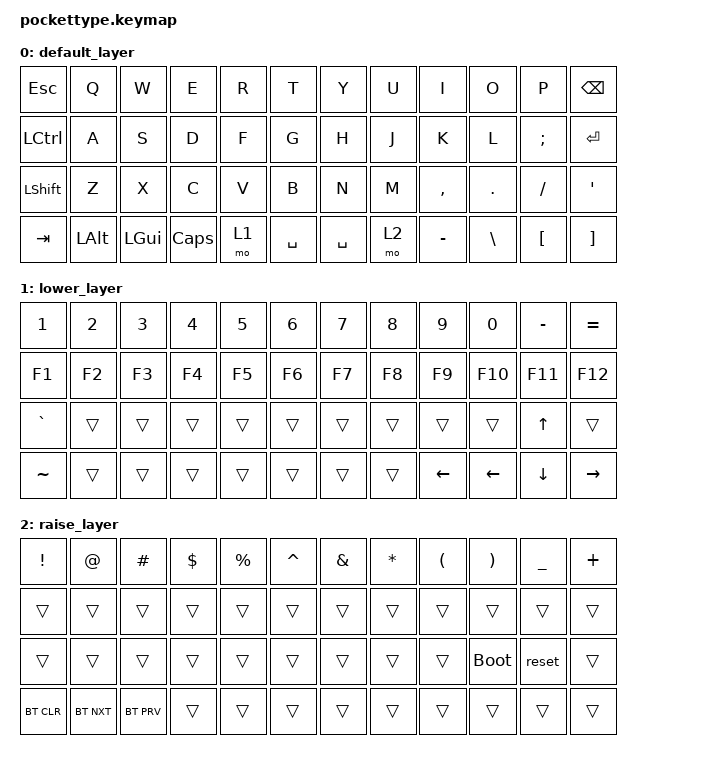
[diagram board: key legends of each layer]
/*
 * Copyright (c) 2020 The ZMK Contributors
 *
 * SPDX-License-Identifier: MIT
 */

#include <behaviors.dtsi>
#include <dt-bindings/zmk/keys.h>
#include <dt-bindings/zmk/bt.h>

/ {
	keymap {
		compatible = "zmk,keymap";
		
		default_layer {
			bindings = <
				&kp ESC   &kp Q     &kp W    &kp E    &kp R  &kp T     &kp Y     &kp U  &kp I       &kp O         &kp P         &kp BSPC
				&kp LCTRL &kp A     &kp S    &kp D    &kp F  &kp G     &kp H     &kp J  &kp K       &kp L         &kp SEMICOLON &kp ENTER
				&kp LSHFT &kp Z     &kp X    &kp C    &kp V  &kp B     &kp N     &kp M  &kp COMMA   &kp DOT       &kp SLASH     &kp SINGLE_QUOTE
				&kp TAB   &kp LALT  &kp LGUI &kp CAPS &mo 1  &kp SPACE &kp SPACE &mo 2  &kp MINUS   &kp BACKSLASH &kp LBKT      &kp RBKT
			>;
		};

		lower_layer {
			bindings = <
				&kp N1   &kp N2 &kp N3   &kp N4   &kp N5    &kp N6    &kp N7   &kp N8    &kp N9   &kp N0     &kp MINUS &kp EQUAL
				&kp F1   &kp F2 &kp F3   &kp F4   &kp F5    &kp F6    &kp F7   &kp F8    &kp F9   &kp F10    &kp F11    &kp F12
				&kp GRAVE &trans &trans &trans &trans &trans &trans &trans &trans &trans                        &kp UP &trans
				&kp TILDE   &trans &trans   &trans   &trans    &trans    &trans   &trans    &kp LEFT   &kp LEFT &kp DOWN  &kp RIGHT
			>;
		};

		raise_layer {
			bindings = <
			    &kp EXCL   &kp AT     &kp HASH   &kp DLLR &kp PRCNT &kp CARET &kp AMPS &kp ASTRK &kp LPAR &kp RPAR   &kp UNDER  &kp PLUS
				&trans     &trans     &trans  &trans   &trans &trans  &trans &trans &trans           &trans       &trans       &trans
				&trans     &trans     &trans   &trans   &trans   &trans  &trans &trans &trans           &bootloader  &reset       &trans
				&bt BT_CLR &bt BT_NXT &bt BT_PRV &trans   &trans    &trans  &trans &trans &trans           &trans       &trans       &trans
			>;
		};
	};
};
